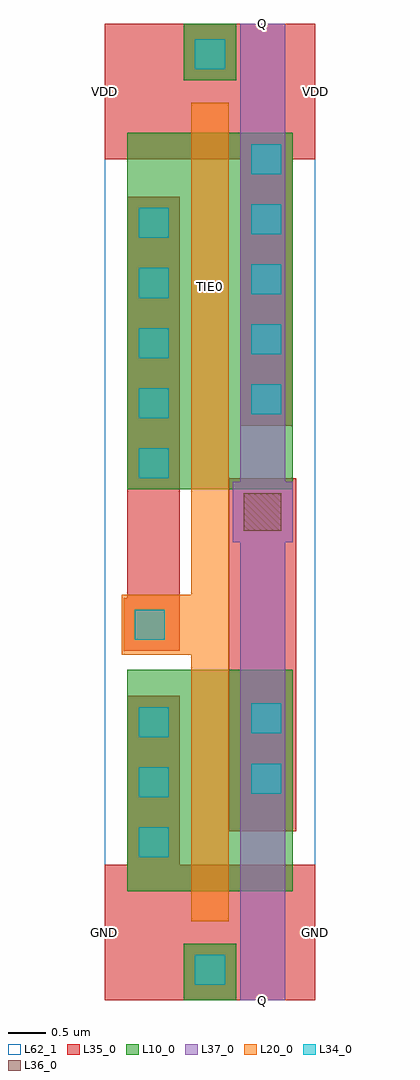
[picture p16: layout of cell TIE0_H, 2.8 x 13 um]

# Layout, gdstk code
import gdstk
lib = gdstk.Library(unit=1e-6, precision=1e-09)
def R(c, l, rs):  # rectangles x0, y0, x1, y1
    for r in rs: c.add(gdstk.rectangle(r[:2], r[2:], *l))
def A(c, l, x, y, w, h, nx, ny, dx, dy):  # array of equal rectangles
    R(c, l, [(x+i*dx, y+j*dy, x+i*dx+w, y+j*dy+h) for i in range(nx) for j in range(ny)])
def P(c, l, *ps):  # polygons
    for p in ps: c.add(gdstk.Polygon(p, *l))
L10_0 = (10, 0)
L20_0 = (20, 0)
L34_0 = (34, 0)
L35_0 = (35, 0)
L36_0 = (36, 0)
L37_0 = (37, 0)
L62_1 = (62, 1)

tie0_h = lib.new_cell('TIE0_H')
R(tie0_h, L10_0, [(1.05,0,1.75,0.75), (0.3,1.45,2.5,4.4), (0.3,6.8,2.5,11.55), (1.05,12.25,1.75,13)])
P(tie0_h, L20_0, [(1.65,11.95),(1.15,11.95),(1.15,5.4),(0.225,5.4),(0.225,4.6),(1.15,4.6),(1.15,1.05),(1.65,1.05)])
A(tie0_h, L34_0, 0.45, 1.9, 0.4, 0.4, 1, 3, 0, 0.8)
A(tie0_h, L34_0, 0.45, 6.95, 0.4, 0.4, 1, 5, 0, 0.8)
A(tie0_h, L34_0, 1.95, 7.8, 0.4, 0.4, 1, 5, 0, 0.8)
R(tie0_h, L34_0, [(1.2,0.2,1.6,0.6), (1.95,2.75,2.35,3.15), (1.95,3.55,2.35,3.95), (0.4,4.8,0.8,5.2), (1.2,12.4,1.6,12.8)])
R(tie0_h, L35_0, [(1.65,2.25,2.55,6.95), (1.65,6.05,2.55,6.95)])
P(tie0_h, L35_0, [(1,10.7),(0.3,10.7),(0.3,5.35),(0.25,5.35),(0.25,4.65),(1,4.65)],
  [(2.8,1.8),(1,1.8),(1,4.05),(0.3,4.05),(0.3,1.8),(0,1.8),(0,0),(2.8,0)],
  [(2.8,13),(0,13),(0,11.2),(1.8,11.2),(1.8,7.65),(2.5,7.65),(2.5,11.2),(2.8,11.2)])
R(tie0_h, L36_0, [(1.85,6.25,2.35,6.75)])
R(tie0_h, L37_0, [(1.8,0,2.4,13), (1.7,6.1,2.5,6.9)])
R(tie0_h, L62_1, [(0,0,2.8,13)])
tie0_h.add(gdstk.Label('TIE0', (1.4,9.5), layer=61, texttype=2))
tie0_h.add(gdstk.Label('Q', (2.1,13), layer=37, texttype=0))
tie0_h.add(gdstk.Label('Q', (2.1,13), layer=37, texttype=0))
tie0_h.add(gdstk.Label('GND', (2.8,0.9), layer=35, texttype=0))
tie0_h.add(gdstk.Label('GND', (0,0.9), layer=35, texttype=0))
tie0_h.add(gdstk.Label('VDD', (2.8,12.1), layer=35, texttype=0))
tie0_h.add(gdstk.Label('VDD', (0,12.1), layer=35, texttype=0))
tie0_h.add(gdstk.Label('Q', (2.1,0), layer=37, texttype=0))

lib.write_gds('TIE0_H.gds')
